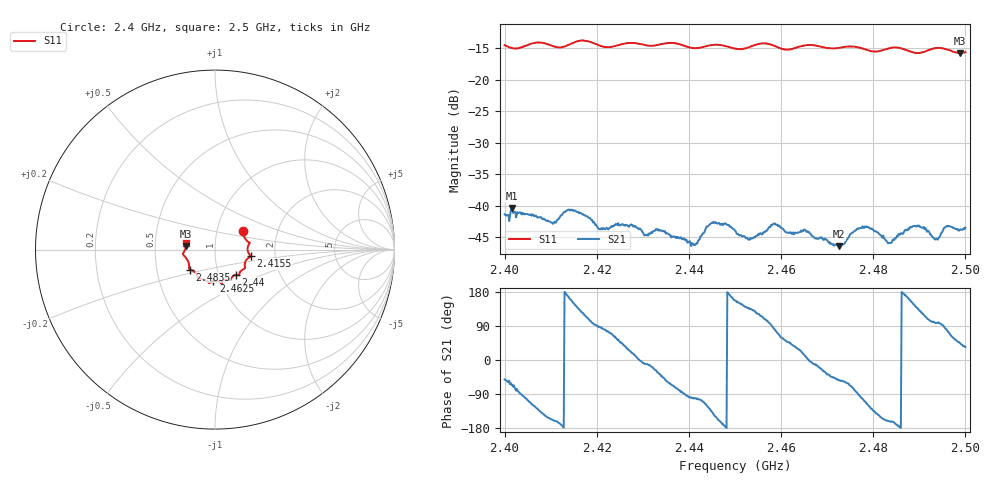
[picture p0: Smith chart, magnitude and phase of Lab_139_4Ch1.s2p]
# Hz S RI R 50
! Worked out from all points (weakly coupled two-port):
!   601 points, 2.4 GHz to 2.5 GHz, reference 50 ohm
!   highest |S21| = -40.44 dB at 2.4015 GHz (marker M1); lowest = -46.4 dB at 2.4725 GHz (marker M2)
!   lowest |S11| = -15.7 dB at 2.4988 GHz (marker M3), VSWR 1.39, Z = 36 + j1.32 ohm
!   |S11| at or under -10 dB: start of sweep to end of sweep
!   S12 and S22 are empty: the file has one direction only
!   S11 on the Smith chart (normalised r, x): 2.4 GHz: 1.33, +0.29; 2.4155 GHz: 1.49, -0.11; 2.44 GHz: 1.21, -0.35; 2.4625 GHz: 0.92, -0.34; 2.4835 GHz: 0.74, -0.17; 2.5 GHz: 0.72, +0.05
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2.4e9  0.1563 0.1059  0.00537 -0.00665  0 0  0 0
2.4015e9  0.1597 0.0834  0.00391 -0.00866  0 0  0 0
2.410667e9  0.1837 0.0181  -0.00681 -0.00256  0 0  0 0
2.4155e9  0.1982 -0.0358  -0.0072 0.00539  0 0  0 0
2.416667e9  0.2018 -0.0401  -0.0051 0.00696  0 0  0 0
2.420667e9  0.1802 -0.0509  0.000393 0.00649  0 0  0 0
2.433333e9  0.1354 -0.1336  0.0054 -0.0036  0 0  0 0
2.44e9  0.1157 -0.14  -0.000646 -0.00512  0 0  0 0
2.445333e9  0.0856 -0.1697  -0.00599 -0.00445  0 0  0 0
2.45e9  0.0639 -0.1657  -0.00585 0.00242  0 0  0 0
2.453333e9  0.0392 -0.1796  -0.00389 0.00396  0 0  0 0
2.458667e9  0.0318 -0.1833  0.00127 0.00712  0 0  0 0
2.4625e9  -0.00967 -0.1766  0.00465 0.00378  0 0  0 0
2.466667e9  -0.033 -0.1867  0.00574 -0.00066  0 0  0 0
2.4725e9  -0.073 -0.1642  0.00287 -0.00381  0 0  0 0
2.478167e9  -0.1003 -0.1435  -0.00227 -0.00644  0 0  0 0
2.483333e9  -0.1386 -0.112  -0.00477 -0.00161  0 0  0 0
2.4835e9  -0.1394 -0.1119  -0.00482 -0.00158  0 0  0 0
2.4885e9  -0.145 -0.081  -0.00599 0.00331  0 0  0 0
2.4935e9  -0.1769 -0.0278  -0.000741 0.00533  0 0  0 0
2.498833e9  -0.1624 0.0178  0.00462 0.00454  0 0  0 0
2.5e9  -0.1624 0.0362  0.00553 0.00377  0 0  0 0
